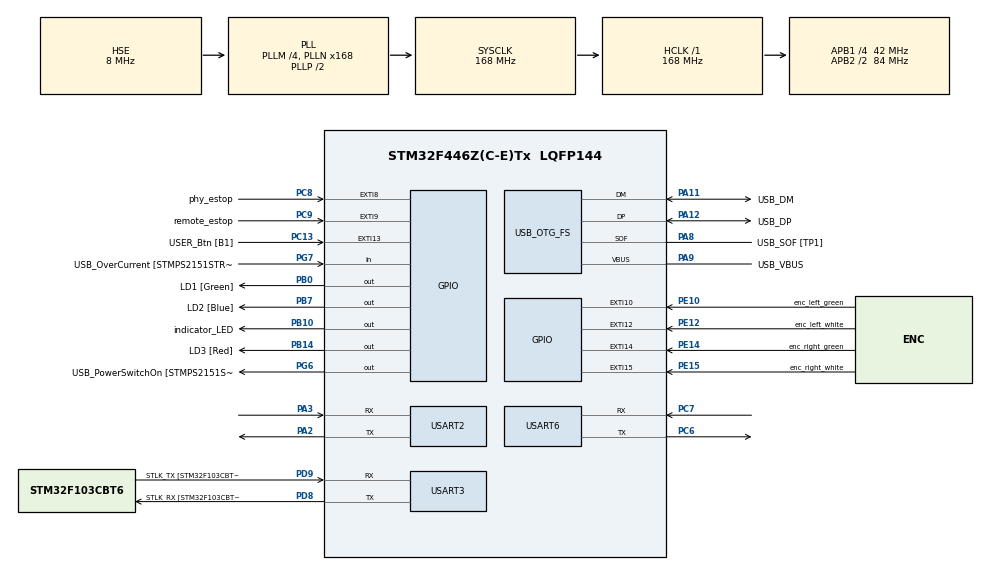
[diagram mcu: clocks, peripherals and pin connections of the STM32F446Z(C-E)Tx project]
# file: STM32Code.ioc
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Dma.Request0=USART3_RX
Dma.Request1=USART3_TX
Dma.USART3_RX.0.Direction=DMA_PERIPH_TO_MEMORY
Dma.USART3_RX.0.FIFOMode=DMA_FIFOMODE_DISABLE
Dma.USART3_RX.0.Instance=DMA1_Stream1
Dma.USART3_RX.0.MemDataAlignment=DMA_MDATAALIGN_BYTE
Dma.USART3_RX.0.MemInc=DMA_MINC_ENABLE
Dma.USART3_RX.0.Mode=DMA_CIRCULAR
Dma.USART3_RX.0.PeriphDataAlignment=DMA_PDATAALIGN_BYTE
Dma.USART3_RX.0.PeriphInc=DMA_PINC_DISABLE
Dma.USART3_RX.0.Priority=DMA_PRIORITY_VERY_HIGH
Dma.USART3_TX.1.Direction=DMA_MEMORY_TO_PERIPH
Dma.USART3_TX.1.FIFOMode=DMA_FIFOMODE_DISABLE
Dma.USART3_TX.1.Instance=DMA1_Stream3
Dma.USART3_TX.1.MemDataAlignment=DMA_MDATAALIGN_BYTE
Dma.USART3_TX.1.MemInc=DMA_MINC_ENABLE
Dma.USART3_TX.1.Mode=DMA_NORMAL
Dma.USART3_TX.1.PeriphDataAlignment=DMA_PDATAALIGN_BYTE
Dma.USART3_TX.1.PeriphInc=DMA_PINC_DISABLE
Dma.USART3_TX.1.Priority=DMA_PRIORITY_VERY_HIGH
FREERTOS.Tasks01=defaultTask,24,3000,StartDefaultTask,Default,NULL,Dynamic,NULL,NULL
FREERTOS.configUSE_NEWLIB_REENTRANT=1
Mcu.Family=STM32F4
Mcu.Name=STM32F446Z(C-E)Tx
Mcu.Package=LQFP144
NVIC.DMA1_Stream1_IRQn=true\:5\:0\:false\:false\:true\:true\:false\:true\:true
NVIC.DMA1_Stream3_IRQn=true\:5\:0\:false\:false\:true\:true\:false\:true\:true
NVIC.EXTI15_10_IRQn=true\:5\:0\:false\:false\:true\:true\:true\:true\:true
NVIC.EXTI9_5_IRQn=true\:5\:0\:false\:false\:true\:true\:true\:true\:true
NVIC.PriorityGroup=NVIC_PRIORITYGROUP_4
NVIC.TIM1_UP_TIM10_IRQn=true\:15\:0\:false\:false\:true\:false\:false\:true\:true
NVIC.TIM6_DAC_IRQn=true\:5\:0\:false\:false\:true\:true\:true\:true\:true
NVIC.TimeBase=TIM1_UP_TIM10_IRQn
NVIC.TimeBaseIP=TIM1
NVIC.USART2_IRQn=true\:5\:0\:false\:false\:true\:true\:true\:true\:true
NVIC.USART3_IRQn=true\:5\:0\:false\:false\:true\:true\:true\:true\:true
NVIC.USART6_IRQn=true\:5\:0\:false\:false\:true\:true\:true\:true\:true
PA10.GPIO_Label=USB_ID
PA10.Signal=USB_OTG_FS_ID
PA11.GPIO_Label=USB_DM
PA11.Mode=Device_Only
PA11.Signal=USB_OTG_FS_DM
PA12.GPIO_Label=USB_DP
PA12.Mode=Device_Only
PA12.Signal=USB_OTG_FS_DP
PA13.GPIO_Label=TMS
PA13.Mode=Serial_Wire
PA13.Signal=SYS_JTMS-SWDIO
PA14.GPIO_Label=TCK
PA14.Mode=Serial_Wire
PA14.Signal=SYS_JTCK-SWCLK
PA2.Mode=Asynchronous
PA2.Signal=USART2_TX
PA3.Mode=Asynchronous
PA3.Signal=USART2_RX
PA8.GPIO_Label=USB_SOF [TP1]
PA8.Mode=Activate_SOF_FS
PA8.Signal=USB_OTG_FS_SOF
PA9.GPIO_Label=USB_VBUS
PA9.Mode=Activate_VBUS
PA9.Signal=USB_OTG_FS_VBUS
PB0.GPIO_Label=LD1 [Green]
PB0.Signal=GPIO_Output
PB10.GPIO_Label=indicator_LED
PB10.Signal=GPIO_Output
PB14.GPIO_Label=LD3 [Red]
PB14.Signal=GPIO_Output
PB7.GPIO_Label=LD2 [Blue]
PB7.Signal=GPIO_Output
PC13.GPIO_Label=USER_Btn [B1]
PC13.Signal=GPXTI13
PC14-OSC32_IN.Mode=LSE-External-Oscillator
PC14-OSC32_IN.Signal=RCC_OSC32_IN
PC15-OSC32_OUT.Mode=LSE-External-Oscillator
PC15-OSC32_OUT.Signal=RCC_OSC32_OUT
PC6.Mode=Asynchronous
PC6.Signal=USART6_TX
PC7.Mode=Asynchronous
PC7.Signal=USART6_RX
PC8.GPIO_Label=phy_estop
PC8.GPIO_ModeDefaultEXTI=GPIO_MODE_IT_RISING_FALLING
PC8.GPIO_PuPd=GPIO_PULLDOWN
PC8.Signal=GPXTI8
PC9.GPIO_Label=remote_estop
PC9.GPIO_ModeDefaultEXTI=GPIO_MODE_IT_RISING_FALLING
PC9.GPIO_PuPd=GPIO_PULLDOWN
PC9.Signal=GPXTI9
PD8.GPIO_Label=STLK_RX [STM32F103CBT6_PA3]
PD8.Mode=Asynchronous
PD8.Signal=USART3_TX
PD9.GPIO_Label=STLK_TX [STM32F103CBT6_PA2]
PD9.Mode=Asynchronous
PD9.Signal=USART3_RX
PE10.GPIO_Label=enc_left_green
PE10.GPIO_PuPd=GPIO_PULLUP
PE10.Signal=GPXTI10
PE12.GPIO_Label=enc_left_white
PE12.GPIO_PuPd=GPIO_PULLUP
PE12.Signal=GPXTI12
PE14.GPIO_Label=enc_right_green
PE14.GPIO_PuPd=GPIO_PULLUP
PE14.Signal=GPXTI14
PE15.GPIO_Label=enc_right_white
PE15.GPIO_PuPd=GPIO_PULLUP
PE15.Signal=GPXTI15
PG6.GPIO_Label=USB_PowerSwitchOn [STMPS2151STR_EN]
PG6.Signal=GPIO_Output
PG7.GPIO_Label=USB_OverCurrent [STMPS2151STR_FAULT]
PG7.Signal=GPIO_Input
PH0-OSC_IN.GPIO_Label=MCO [STM32F103CBT6_PA8]
PH0-OSC_IN.Mode=HSE-External-Clock-Source
PH0-OSC_IN.Signal=RCC_OSC_IN
PH1-OSC_OUT.Mode=HSE-External-Clock-Source
PH1-OSC_OUT.Signal=RCC_OSC_OUT
ProjectManager.HeapSize=0x200
ProjectManager.StackSize=0x400
ProjectManager.TargetToolchain=STM32CubeIDE
RCC.48MHZClocksFreq_Value=24000000
RCC.AHBFreq_Value=168000000
RCC.APB1CLKDivider=RCC_HCLK_DIV4
RCC.APB1Freq_Value=42000000
RCC.APB1TimFreq_Value=84000000
RCC.APB2CLKDivider=RCC_HCLK_DIV2
RCC.APB2Freq_Value=84000000
RCC.APB2TimFreq_Value=168000000
RCC.CortexFreq_Value=168000000
RCC.HCLKFreq_Value=168000000
RCC.HSE_VALUE=8000000
RCC.HSI_VALUE=16000000
RCC.PLLM=4
RCC.PLLMUL=RCC_PLL_MUL9
RCC.PLLN=168
RCC.PLLQ=7
RCC.PRESCALERUSB=RCC_USBCLKSOURCE_PLL_DIV1_5
RCC.SYSCLKFreq_VALUE=168000000
RCC.SYSCLKSource=RCC_SYSCLKSOURCE_PLLCLK
RCC.SYSCLKSourceVirtual=RCC_SYSCLKSOURCE_PLLCLK
RCC.USBFreq_Value=48000000
RCC.VCOOutputFreq_Value=336000000
TIM6.Period=65525-1
TIM6.Prescaler=128-1
USART2.VirtualMode=VM_ASYNC
USART3.VirtualMode=VM_ASYNC
USART6.VirtualMode=VM_ASYNC
USB_OTG_FS.VirtualMode=Device_Only
VP_FREERTOS_VS_CMSIS_V2.Mode=CMSIS_V2
VP_SYS_VS_tim1.Mode=TIM1
VP_TIM6_VS_ClockSourceINT.Mode=Enable_Timer
board=NUCLEO-F446ZE

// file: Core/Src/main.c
/* USER CODE BEGIN Header */
/**
  ******************************************************************************
  * @file           : main.c
  * @brief          : Main program body
  ******************************************************************************
  * @attention
  *
  * Copyright (c) 2024 STMicroelectronics.
  * All rights reserved.
  *
  * This software is licensed under terms that can be found in the LICENSE file
  * in the root directory of this software component.
  * If no LICENSE file comes with this software, it is provided AS-IS.
  *
  ******************************************************************************
  */
/* USER CODE END Header */
#include "main.h"
#include "cmsis_os.h"
#include "dma.h"
#include "tim.h"
#include "usart.h"
#include "usb_otg.h"
#include "gpio.h"

/* USER CODE BEGIN Includes */
#include "FreeRTOS.h"
#include "task.h"

#include <stdlib.h>
#include <stdio.h>
#include <rcl/rcl.h>
#include <rcl/error_handling.h>
#include <rclc/rclc.h>
#include <rclc/executor.h>
#include <uxr/client/transport.h>
#include <rmw_microxrcedds_c/config.h>
#include <rmw_microros/rmw_microros.h>

#include <std_msgs/msg/int32.h>
#include <std_msgs/msg/float32.h>
#include <geometry_msgs/msg/twist.h>
#include <std_msgs/msg/string.h>
/* USER CODE END Includes */

/* USER CODE BEGIN PV */

osThreadId_t defaultTaskHandle;
const osThreadAttr_t defaultTask_attributes = {
  .name = "defaultTask",
  .stack_size = 3000 * 4,
  .priority = (osPriority_t) osPriorityNormal,
};

/* USER CODE END PV */

void SystemClock_Config(void);
void MX_FREERTOS_Init(void);
/* USER CODE BEGIN PFP */
void StartDefaultTask(void *argument);
/* USER CODE END PFP */

/* USER CODE BEGIN 0 */
uint8_t rx_buff[1];
char message[1];

unsigned long lastData = 0;
const float WHEEL_BASE = 0.77;			//verify!!
const float WHEEL_DIAMETER = 0.312928;
const long CONTROL_TIMEOUT = 1000;
const int LEFT_POLARITY = 1;
const int RIGHT_POLARITY = -1;
const float PI = 3.14159265359;
const float VEL_TO_RPS = 1.0 / (WHEEL_DIAMETER * PI) * 98.0/3.0;
const float RPS_LIMIT = 20;
const float  VEL_LIMIT = RPS_LIMIT / VEL_TO_RPS; // 1.2 mph (~0.57 m/s) limit

int volatile is_auto = 0;
int volatile estop_mul = 1;
int long volatile right_encoder_tick = 0;
int long volatile left_encoder_tick = 0;
int volatile led_counter = 0;

float right_prev_time = 0;
float right_curr_time;
float right_prev_dist = 0;
float right_curr_dist = 0;
float right_vel = 0;

float left_prev_time = 0;
float left_curr_time;
float left_prev_dist = 0;
float left_curr_dist = 0;
float left_vel = 0;

//constants for the robot
const float TICK_PER_REV = 720;
rcl_publisher_t enc_vel_publisher;
geometry_msgs__msg__Twist enc_vel_msg;

rcl_publisher_t estop_mul_publisher;
std_msgs__msg__Int32 estop_mul_msg;

/* USER CODE END 0 */

int main(void)
{

  /* MCU Configuration--------------------------------------------------------*/

  /* Reset of all peripherals, Initializes the Flash interface and the Systick. */
  HAL_Init();

  /* Configure the system clock */
  SystemClock_Config();

  /* Initialize all configured peripherals */
  MX_GPIO_Init();
  MX_DMA_Init();
  MX_USART3_UART_Init();
  MX_USB_OTG_FS_PCD_Init();
  MX_USART2_UART_Init();
  MX_USART6_UART_Init();
  MX_TIM6_Init();
  /* USER CODE BEGIN 2 */
  HAL_TIM_Base_Start_IT(&htim6);
  /* USER CODE END 2 */

  /* Init scheduler */
  osKernelInitialize();

  /* Call init function for freertos objects (in cmsis_os2.c) */
  MX_FREERTOS_Init();

  /* Start scheduler */
  osKernelStart();

  /* We should never get here as control is now taken by the scheduler */

  /* Infinite loop */
  while (1)
  {

  }
}

void SystemClock_Config(void)
{
  RCC_OscInitTypeDef RCC_OscInitStruct = {0};
  RCC_ClkInitTypeDef RCC_ClkInitStruct = {0};

  /** Configure the main internal regulator output voltage
  */
  __HAL_RCC_PWR_CLK_ENABLE();
  __HAL_PWR_VOLTAGESCALING_CONFIG(PWR_REGULATOR_VOLTAGE_SCALE1);

  /** Initializes the RCC Oscillators according to the specified parameters
  * in the RCC_OscInitTypeDef structure.
  */
  RCC_OscInitStruct.OscillatorType = RCC_OSCILLATORTYPE_HSE;
  RCC_OscInitStruct.HSEState = RCC_HSE_BYPASS;
  RCC_OscInitStruct.PLL.PLLState = RCC_PLL_ON;
  RCC_OscInitStruct.PLL.PLLSource = RCC_PLLSOURCE_HSE;
  RCC_OscInitStruct.PLL.PLLM = 4;
  RCC_OscInitStruct.PLL.PLLN = 168;
  RCC_OscInitStruct.PLL.PLLP = RCC_PLLP_DIV2;
  RCC_OscInitStruct.PLL.PLLQ = 7;
  RCC_OscInitStruct.PLL.PLLR = 2;
  if (HAL_RCC_OscConfig(&RCC_OscInitStruct) != HAL_OK)
  {
    Error_Handler();
  }

  /** Initializes the CPU, AHB and APB buses clocks
  */
  RCC_ClkInitStruct.ClockType = RCC_CLOCKTYPE_HCLK|RCC_CLOCKTYPE_SYSCLK
                              |RCC_CLOCKTYPE_PCLK1|RCC_CLOCKTYPE_PCLK2;
  RCC_ClkInitStruct.SYSCLKSource = RCC_SYSCLKSOURCE_PLLCLK;
  RCC_ClkInitStruct.AHBCLKDivider = RCC_SYSCLK_DIV1;
  RCC_ClkInitStruct.APB1CLKDivider = RCC_HCLK_DIV4;
  RCC_ClkInitStruct.APB2CLKDivider = RCC_HCLK_DIV2;

  if (HAL_RCC_ClockConfig(&RCC_ClkInitStruct, FLASH_LATENCY_5) != HAL_OK)
  {
    Error_Handler();
  }
}

/* USER CODE BEGIN 4 */
bool cubemx_transport_open(struct uxrCustomTransport * transport);
bool cubemx_transport_close(struct uxrCustomTransport * transport);
size_t cubemx_transport_write(struct uxrCustomTransport* transport, const uint8_t * buf, size_t len, uint8_t * err);
size_t cubemx_transport_read(struct uxrCustomTransport* transport, uint8_t* buf, size_t len, int timeout, uint8_t* err);

void * microros_allocate(size_t size, void * state);
void microros_deallocate(void * pointer, void * state);
void * microros_reallocate(void * pointer, size_t size, void * state);
void * microros_zero_allocate(size_t number_of_elements, size_t size_of_element, void * state);

void update_right_dist_time_vel(){
    right_prev_dist = right_curr_dist;
    right_curr_dist = right_encoder_tick / TICK_PER_REV * (PI * WHEEL_DIAMETER);
    right_prev_time = right_curr_time;
    right_curr_time = HAL_GetTick();
    right_vel = (right_curr_dist - right_prev_dist) / (right_curr_time - right_prev_time) * 1000;
 }

void update_left_dist_time_vel(){
    left_prev_dist = left_curr_dist;
    left_curr_dist = left_encoder_tick / TICK_PER_REV * (PI * WHEEL_DIAMETER);
    left_prev_time = left_curr_time;
    left_curr_time = HAL_GetTick();
    left_vel = -1 * (left_curr_dist - left_prev_dist) / (left_curr_time - left_prev_time) * 1000;
 }

void MX_FREERTOS_Init(void) {
  defaultTaskHandle = osThreadNew(StartDefaultTask, NULL, &defaultTask_attributes);
}
//			HAL_GPIO_WritePin(LD2_GPIO_Port, LD2_Pin,1);

void HAL_UART_RxCpltCallback(UART_HandleTypeDef *huart)
{
  //maybe receive one character at a time like in arduino

  //message = rx_buff[0];
  HAL_UART_Receive_IT(&huart2, rx_buff, 1); //You need to toggle a breakpoint on this line!

  message[0] = (char)(50);//rx_buff[0]+20);//bytes_to_float(rx_buff);//uint8_t)(rx_buff[0]);
  //message--;
}

void publish_callback(rcl_timer_t * timer, int64_t last_call_time)
{
	estop_mul_msg.data = estop_mul;
	rcl_publish(&estop_mul_publisher, &estop_mul_msg, NULL);
}

void LED_subscription_callback (const void * msgin){
	const std_msgs__msg__Int32 * msg = (const std_msgs__msg__Int32 *) msgin;
	is_auto = msg-> data;
}

void StartDefaultTask(void *argument)
{
  /* USER CODE BEGIN StartDefaultTask */
	// micro-ROS configuration
	  rmw_uros_set_custom_transport(
	    true,
	    (void *) &huart3,
	    cubemx_transport_open,
	    cubemx_transport_close,
	    cubemx_transport_write,
	    cubemx_transport_read);

	  rcl_allocator_t freeRTOS_allocator = rcutils_get_zero_initialized_allocator();
	  freeRTOS_allocator.allocate = microros_allocate;
	  freeRTOS_allocator.deallocate = microros_deallocate;
	  freeRTOS_allocator.reallocate = microros_reallocate;
	  freeRTOS_allocator.zero_allocate =  microros_zero_allocate;

	  if (!rcutils_set_default_allocator(&freeRTOS_allocator)) {
	      printf("Error on default allocators (line %d)\n", __LINE__);
	  }

	  // micro-ROS app

	  rcl_subscription_t subscriber;
	  rcl_subscription_t LED_subscriber;

	  rosidl_runtime_c__String s;
	  geometry_msgs__msg__Twist rec;
	  std_msgs__msg__Int32 LED;
	  std_msgs__msg__String msg;
	  rclc_support_t support;
	  rcl_allocator_t allocator;
	  rcl_node_t node;
	  allocator = rcl_get_default_allocator();

	  //create init_options
	  rclc_support_init(&support, 0, NULL, &allocator);

	  // create publisher timer
	  rcl_timer_t timer;
	  const unsigned int spin_period = RCL_MS_TO_NS(20); //20 ms
	  rcl_ret_t rc = rclc_timer_init_default(&timer, &support, spin_period, publish_callback);

	  // create node/driving_state
	  rclc_node_init_default(&node, "cubemx_node", "", &support);

	  // create subscriber
	  rclc_subscription_init_default(
	  	    &subscriber,
	  	    &node,
	  	    ROSIDL_GET_MSG_TYPE_SUPPORT(geometry_msgs, msg, Twist),
	  	    "merge_vel");

	  rclc_subscription_init_default(
	 	  	    &LED_subscriber,
	 	  	    &node,
	 	  	    ROSIDL_GET_MSG_TYPE_SUPPORT(std_msgs, msg, Int32),
	 	  	    "/driving_state");

	  //create publisher
	  rclc_publisher_init_default(
	    &enc_vel_publisher,
	    &node,
	    ROSIDL_GET_MSG_TYPE_SUPPORT(geometry_msgs, msg, Twist),
	    "/enc_vel");

	  rclc_publisher_init_default(
		&estop_mul_publisher,
		&node,
		ROSIDL_GET_MSG_TYPE_SUPPORT(std_msgs, msg, Int32),
		"/estop_mul");

	  rclc_executor_t executor;
	  rclc_executor_init(&executor, &support.context, 4, &allocator);
	  rclc_executor_add_subscription(&executor, &subscriber, &rec, &subscription_callback, ON_NEW_DATA);
	  rclc_executor_add_subscription(&executor, &LED_subscriber, &LED, &LED_subscription_callback, ON_NEW_DATA);

	  rclc_executor_add_timer(&executor, &timer);

	  s.data = message;
	  s.capacity = 1;
	  s.size = 1;
	  msg.data = s;

	  osDelay(3000);
	  uint8_t calibrate[]="w axis0.requested_state 3\n";
	  HAL_UART_Transmit_IT(&huart2, calibrate, strlen(calibrate));
	  osDelay(60000);
	  HAL_UART_Transmit_IT(&huart6, calibrate, strlen(calibrate));
	  osDelay(60000);
	  uint8_t closed_loop[]="w axis0.requested_state 8\n";
	  HAL_UART_Transmit_IT(&huart2, closed_loop, strlen(closed_loop));
	  HAL_UART_Transmit_IT(&huart6, closed_loop, strlen(closed_loop));
//	  osDelay(3000);
//	  uint8_t vel0[]="v 0 5\n";
//	  HAL_UART_Transmit_IT(&huart2, vel0, strlen(vel0));
//	  HAL_UART_Transmit_IT(&huart6, vel0, strlen(vel0));

	  float prev_pub_time = 0;
//	  right_curr_time = HAL_GetTick();
//	  left_curr_time = HAL_GetTick();
	  rclc_executor_spin(&executor);

	  for(;;)
	  {
		  HAL_GPIO_WritePin(LD2_GPIO_Port, LD2_Pin, 0);

		  if (HAL_GetTick() - prev_pub_time >= 1000 ){
//			  HAL_GPIO_TogglePin(LD3_GPIO_Port, LD3_Pin);
			  prev_pub_time = HAL_GetTick();
		  }

	  }
	  rclc_executor_fini(&executor);
	  rclc_publisher_fini(&enc_vel_publisher, &node);
	  rclc_publisher_fini(&estop_mul_publisher, &node);
	  rcl_subscrption_fini(&subscriber, &node);
	  rcl_subscrption_fini(&LED_subscriber, &node);
	  rcl_node_fini(&node);
	  rclc_support_fini(&support);

      rcl_timer_fini(&timer);

  /* USER CODE END StartDefaultTask */
}

/* USER CODE END 4 */

void HAL_TIM_PeriodElapsedCallback(TIM_HandleTypeDef *htim)
{
  if (htim->Instance == TIM1) {
    HAL_IncTick();
  }
  /* USER CODE BEGIN Callback 1 */

  //ROS Publisher periodic callback
  int LED_THRESHOLD = 7;
  if(htim == &htim6){
	  if (is_auto){
		  ++led_counter;
		  if (led_counter == LED_THRESHOLD) {
			  HAL_GPIO_TogglePin(GPIOB, GPIO_PIN_10);
			  HAL_GPIO_TogglePin(LD2_GPIO_Port, LD2_Pin); // Real
	//		  HAL_GPIO_WritePin(LD2_GPIO_Port, LD2_Pin, 1); // DEBUG
			  led_counter = 0;
		  }
	  }
	  else {
		  HAL_GPIO_WritePin(GPIOB, GPIO_PIN_10,1);
		  HAL_GPIO_WritePin(LD2_GPIO_Port, LD2_Pin, 1); // Real
//		  HAL_GPIO_WritePin(LD2_GPIO_Port, LD2_Pin, 0); // DEBUG
	  }

  }

  /* USER CODE END Callback 1 */
}

void Error_Handler(void)
{
  __disable_irq();
  while (1)
  {
  }
}
